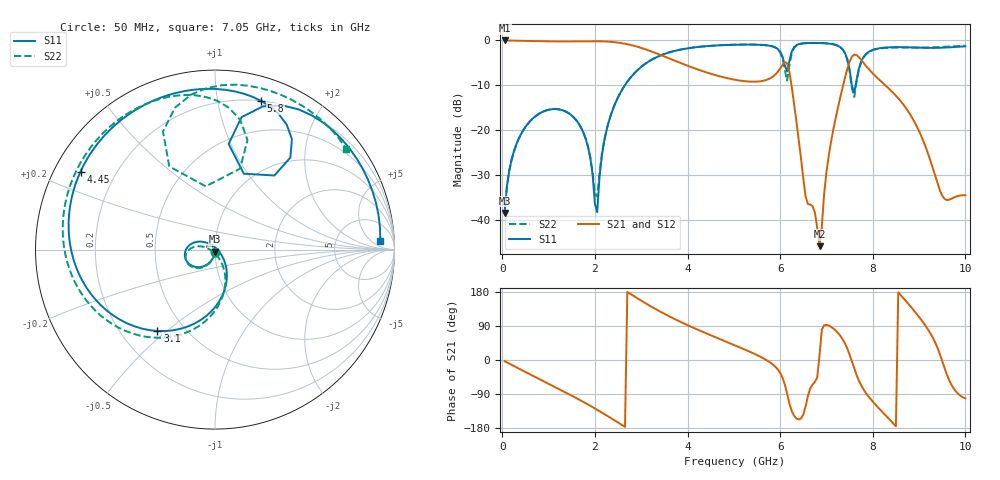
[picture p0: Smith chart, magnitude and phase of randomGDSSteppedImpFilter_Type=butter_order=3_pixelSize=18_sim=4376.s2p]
! freq	dB(S11)	phase(S11)	dB(S12)	phase(S12)
!  dB(S21)	phase(S21)	dB(S22)	phase(S22)
!S-par simulation data
#  GHz  S  DB  R 50
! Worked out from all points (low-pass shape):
!   200 points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, 50 MHz to 10 GHz, reference 50 ohm
!   highest |S21| = -0.01 dB at 50 MHz (marker M1); lowest = -45.8 dB at 6.85 GHz (marker M2)
!   |S21| within 3 dB of the highest: start of sweep to 3.361 GHz
!   lowest |S11| = -38.4 dB at 50 MHz (marker M3), VSWR 1.02, Z = 49.9 - j1.2 ohm
!   |S11| at or under -10 dB: start of sweep to 2.647 GHz; 7.548 GHz to 7.629 GHz (80.71 MHz wide, 1.06 % of centre)
!   |S22| runs from -38.4 to -0.6 dB; largest |S21 - S12| = 0
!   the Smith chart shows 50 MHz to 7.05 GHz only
!   S11 on the Smith chart (normalised r, x): 50 MHz: 1.00, -0.02; 3.1 GHz: 0.35, -0.47; 4.45 GHz: 0.08, +0.27; 5.8 GHz: 0.20, +1.34; 7.05 GHz: 18, +11
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0.05  -38.43 -92.5  -0.01 -3.2  -0.01 -3.2  -38.43 -92.3
0.6  -17.99 -129.7  -0.12 -37.8  -0.12 -37.8  -17.99 -126.8
1.75  -20.52 151.6  -0.17 -110.6  -0.17 -110.6  -20.48 168.6
2.05  -38.26 5.8  -0.17 -131.4  -0.17 -131.4  -34.79 -103.2
2.35  -16.44 -63.9  -0.31 -153.6  -0.31 -153.6  -16.36 -68.3
3.1  -5.11 -125.3  -2.00 149.3  -2.00 149.3  -5.08 -118.7
3.4  -3.42 -147.0  -3.16 128.4  -3.16 128.4  -3.39 -138.3
4.45  -1.25 149.9  -7.26 67.9  -7.26 67.9  -1.22 165.6
5.05  -0.95 117.7  -8.81 37.4  -8.81 37.4  -0.93 137.7
5.8  -1.23 72.8  -8.34 -7.9  -8.34 -7.9  -1.24 97.3
6.15  -6.89 69.1  -5.08 -89.0  -5.08 -89.0  -8.97 98.4
6.3  -1.50 71.5  -14.04 -147.1  -14.04 -147.1  -1.70 105.7
6.7  -0.55 32.7  -36.91 -65.0  -36.91 -65.0  -0.56 66.7
6.85  -0.58 20.5  -45.82 12.1  -45.82 12.1  -0.57 54.8
7.05  -0.70 2.9  -25.61 90.8  -25.61 90.8  -0.70 37.6
7.55  -10.12 -49.5  -3.62 -4.0  -3.62 -4.0  -10.72 -18.3
7.75  -4.69 -7.1  -4.33 -66.8  -4.33 -66.8  -4.83 28.3
8.35  -1.53 -78.8  -10.75 -155.4  -10.75 -155.4  -1.63 -53.1
8.75  -1.53 -128.3  -15.57 150.8  -15.57 150.8  -1.60 -109.7
9.15  -1.66 175.3  -23.97 88.4  -23.97 88.4  -1.58 -167.1
9.6  -1.57 111.4  -35.56 -38.4  -35.56 -38.4  -1.39 137.0
10  -1.31 63.4  -34.48 -101.4  -34.48 -101.4  -1.18 97.5
